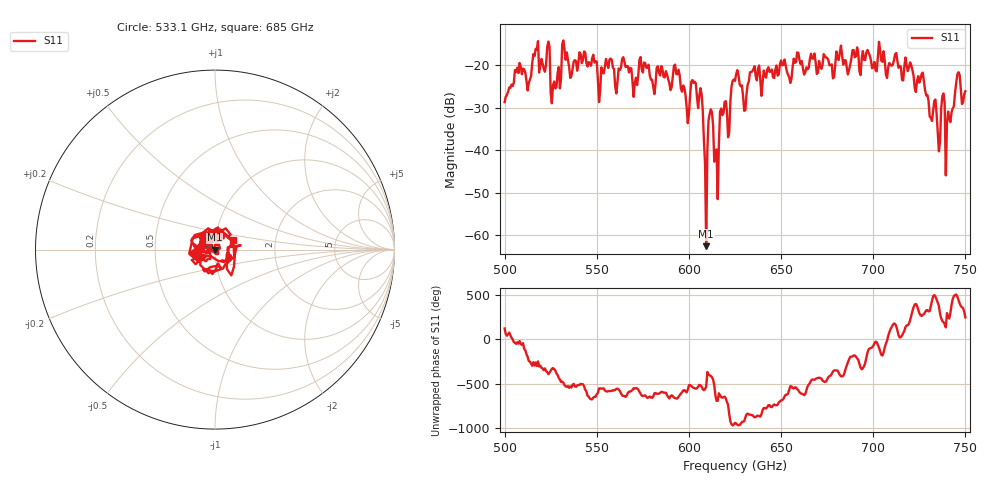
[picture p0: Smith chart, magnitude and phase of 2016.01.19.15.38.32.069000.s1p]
!Created with skrf (http://scikit-rf.org).
# GHz S RI R 50.0
!freq ReS11 ImS11
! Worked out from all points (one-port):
!   401 points, 500 GHz to 750 GHz, reference 50 ohm
!   lowest |S11| = -62.6 dB at 609.4 GHz (marker M1), VSWR 1.00, Z = 49.9 - j0.00839 ohm
!   |S11| at or under -10 dB: start of sweep to end of sweep
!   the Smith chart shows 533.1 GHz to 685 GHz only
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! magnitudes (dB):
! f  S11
! 500 GHz  -28.7
! 506.9 GHz  -20.6
! 513.1 GHz  -24.2
! 516.9 GHz  -16.1
! 523.1 GHz  -15.7
! 526.2 GHz  -24.8
! 531.2 GHz  -15.1
! 562.5 GHz  -21.2
! 593.8 GHz  -22.2
! 599.4 GHz  -33.7
! 602.5 GHz  -24.2
! 606.2 GHz  -25.4
! 609.4 GHz  -62.6
! 611.9 GHz  -30.4
! 615 GHz  -39.9
! 618.1 GHz  -31.8
! 621.9 GHz  -35.8
! 625 GHz  -23.7
! 630 GHz  -30.8
! 634.4 GHz  -21.5
! 656.2 GHz  -20.5
! 687.5 GHz  -19.9
! 718.8 GHz  -21.4
! 735.6 GHz  -40.3
! 737.5 GHz  -27.3
! 740.6 GHz  -30.9
! 745.6 GHz  -22.2
! 750 GHz  -26.1
